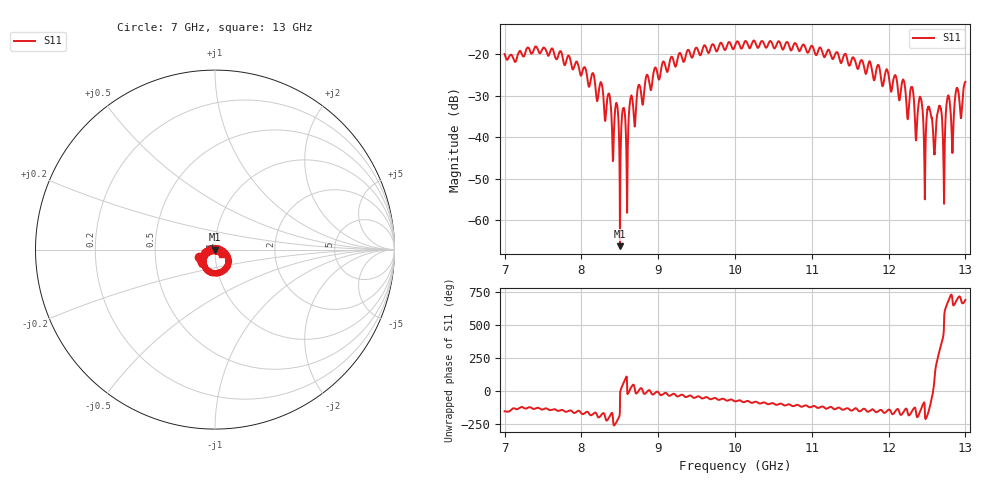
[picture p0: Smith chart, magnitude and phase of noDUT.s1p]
[Version] 2.0
! Rohde & Schwarz Vector Network Analyzer
! Rohde-Schwarz,ZNL20-2Port,1323001220200009,1.71.1.10-23.02.1.238
! Trace info:
! Nominal Param -> Actual Exported Buffer
! S11 -> S22
! Created: GMT+3 2024-09-24 16:26:34
# Hz S DB R 50
[Number of Ports] 1
! freq[Hz]  S11[mag dB]  S11[ang]
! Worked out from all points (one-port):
!   6001 points, 7 GHz to 13 GHz, reference 50 ohm
!   lowest |S11| = -66.3 dB at 8.502 GHz (marker M1), VSWR 1.00, Z = 50 - j0.048 ohm
!   |S11| at or under -10 dB: start of sweep to end of sweep
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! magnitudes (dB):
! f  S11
! 7 GHz  -19.9
! 7.75 GHz  -20.2
! 8.257 GHz  -26.8
! 8.409 GHz  -45.2
! 8.459 GHz  -31.8
! 8.5 GHz  -55.2
! 8.502 GHz  -66.3
! 8.548 GHz  -33.0
! 8.599 GHz  -49.1
! 8.642 GHz  -30.4
! 8.748 GHz  -27.4
! 9.25 GHz  -21.3
! 10 GHz  -17.9
! 10.75 GHz  -18.4
! 11.5 GHz  -22.5
! 12.19 GHz  -26.1
! 12.25 GHz  -35.6
! 12.36 GHz  -39.4
! 12.42 GHz  -30.5
! 12.47 GHz  -54.0
! 12.52 GHz  -32.6
! 12.6 GHz  -44.0
! 12.66 GHz  -32.5
! 12.72 GHz  -51.0
! 12.77 GHz  -30.1
! 12.83 GHz  -43.6
! 12.88 GHz  -28.4
! 13 GHz  -26.6
